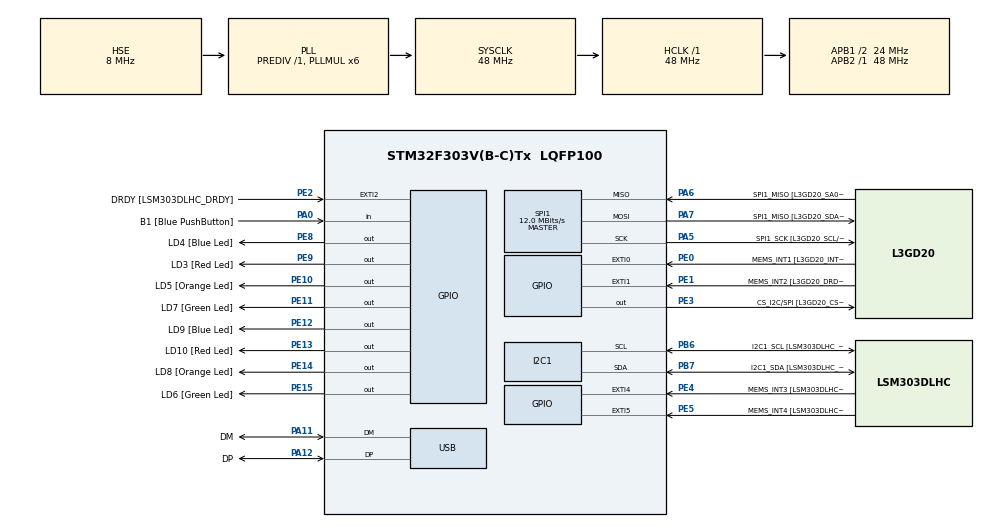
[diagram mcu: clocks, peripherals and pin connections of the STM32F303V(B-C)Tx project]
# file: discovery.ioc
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FREERTOS.CountingSemaphores01=bigMac,100,Dynamic,NULL
FREERTOS.Tasks01=LD4_Task,-3,128,LD4Task,Default,NULL,Dynamic,NULL,NULL;LD3_Task,-3,128,LD3Task,Default,NULL,Dynamic,NULL,NULL;LD5_Task,-3,128,LD5Task,Default,NULL,Dynamic,NULL,NULL;LD6_Task,-3,128,LD6Task,Default,NULL,Dynamic,NULL,NULL;LD7_Task,-3,128,LD7Task,Default,NULL,Dynamic,NULL,NULL;LD8_Task,-3,128,LD8Task,Default,NULL,Dynamic,NULL,NULL;LD9_Task,-3,128,LD9Task,Default,NULL,Dynamic,NULL,NULL;LD10_Task,-3,128,LD10Task,Default,NULL,Dynamic,NULL,NULL;B1_Task,-3,128,B1Task,Default,NULL,Dynamic,NULL,NULL
FREERTOS.configTOTAL_HEAP_SIZE=7000
FREERTOS.configUSE_COUNTING_SEMAPHORES=1
FREERTOS.configUSE_NEWLIB_REENTRANT=1
FREERTOS.configUSE_TIMERS=1
I2C1.Timing=0x2000090E
I2C1.Timing-I2C=0x2000090E
Mcu.Family=STM32F3
Mcu.Name=STM32F303V(B-C)Tx
Mcu.Package=LQFP100
NVIC.PriorityGroup=NVIC_PRIORITYGROUP_4
NVIC.TIM4_IRQn=true\:15\:0\:false\:false\:true\:false\:false\:true
NVIC.TimeBase=TIM4_IRQn
NVIC.TimeBaseIP=TIM4
PA0.GPIO_Label=B1 [Blue PushButton]
PA0.Signal=GPIO_Input
PA11.GPIO_Label=DM
PA11.Mode=Device
PA11.Signal=USB_DM
PA12.GPIO_Label=DP
PA12.Mode=Device
PA12.Signal=USB_DP
PA13.GPIO_Label=SWDIO
PA13.Mode=Serial_Wire
PA13.Signal=SYS_JTMS-SWDIO
PA14.GPIO_Label=SWCLK
PA14.Mode=Serial_Wire
PA14.Signal=SYS_JTCK-SWCLK
PA5.GPIO_Label=SPI1_SCK [L3GD20_SCL/SPC]
PA5.Mode=Full_Duplex_Master
PA5.Signal=SPI1_SCK
PA6.GPIO_Label=SPI1_MISO [L3GD20_SA0/SDO]
PA6.Mode=Full_Duplex_Master
PA6.Signal=SPI1_MISO
PA7.GPIO_Label=SPI1_MISO [L3GD20_SDA/SDI/SDO]
PA7.Mode=Full_Duplex_Master
PA7.Signal=SPI1_MOSI
PB3.GPIO_Label=SWO
PB3.Signal=SYS_JTDO-TRACESWO
PB6.GPIO_Label=I2C1_SCL [LSM303DLHC_SCL]
PB6.GPIO_Pu=GPIO_PULLUP
PB6.Mode=I2C
PB6.Signal=I2C1_SCL
PB7.GPIO_Label=I2C1_SDA [LSM303DLHC_SDA]
PB7.GPIO_Pu=GPIO_PULLUP
PB7.Mode=I2C
PB7.Signal=I2C1_SDA
PC14-OSC32_IN.GPIO_Label=OSC32_IN
PC14-OSC32_IN.Signal=RCC_OSC32_IN
PC15-OSC32_OUT.GPIO_Label=OSC32_OUT
PC15-OSC32_OUT.Signal=RCC_OSC32_OUT
PE0.GPIO_Label=MEMS_INT1 [L3GD20_INT1]
PE0.GPIO_ModeDefaultEXTI=GPIO_MODE_EVT_RISING
PE0.Signal=GPXTI0
PE1.GPIO_Label=MEMS_INT2 [L3GD20_DRDY/INT2]
PE1.GPIO_ModeDefaultEXTI=GPIO_MODE_EVT_RISING
PE1.Signal=GPXTI1
PE10.GPIO_Label=LD5 [Orange Led]
PE10.Signal=GPIO_Output
PE11.GPIO_Label=LD7 [Green Led]
PE11.Signal=GPIO_Output
PE12.GPIO_Label=LD9 [Blue Led]
PE12.Signal=GPIO_Output
PE13.GPIO_Label=LD10 [Red Led]
PE13.Signal=GPIO_Output
PE14.GPIO_Label=LD8 [Orange Led]
PE14.Signal=GPIO_Output
PE15.GPIO_Label=LD6 [Green Led]
PE15.Signal=GPIO_Output
PE2.GPIO_Label=DRDY [LSM303DLHC_DRDY]
PE2.GPIO_ModeDefaultEXTI=GPIO_MODE_EVT_RISING
PE2.Signal=GPXTI2
PE3.GPIO_Label=CS_I2C/SPI [L3GD20_CS_I2C/SPI]
PE3.Signal=GPIO_Output
PE4.GPIO_Label=MEMS_INT3 [LSM303DLHC_INT1]
PE4.GPIO_ModeDefaultEXTI=GPIO_MODE_EVT_RISING
PE4.Signal=GPXTI4
PE5.GPIO_Label=MEMS_INT4 [LSM303DLHC_INT2]
PE5.GPIO_ModeDefaultEXTI=GPIO_MODE_EVT_RISING
PE5.Signal=GPXTI5
PE8.GPIO_Label=LD4 [Blue Led]
PE8.Signal=GPIO_Output
PE9.GPIO_Label=LD3 [Red Led]
PE9.Signal=GPIO_Output
PF0-OSC_IN.GPIO_Label=OSC_IN
PF0-OSC_IN.Mode=HSE-External-Clock-Source
PF0-OSC_IN.Signal=RCC_OSC_IN
PF1-OSC_OUT.GPIO_Label=OSC_OUT
PF1-OSC_OUT.Signal=RCC_OSC_OUT
ProjectManager.HeapSize=0x200
ProjectManager.StackSize=0x400
ProjectManager.TargetToolchain=STM32CubeIDE
RCC.AHBFreq_Value=48000000
RCC.APB1CLKDivider=RCC_HCLK_DIV2
RCC.APB1Freq_Value=24000000
RCC.APB1TimFreq_Value=48000000
RCC.APB2Freq_Value=48000000
RCC.APB2TimFreq_Value=48000000
RCC.CortexFreq_Value=48000000
RCC.HCLKFreq_Value=48000000
RCC.HSE_VALUE=8000000
RCC.HSI_VALUE=8000000
RCC.LSE_VALUE=32768
RCC.PLLMUL=RCC_PLL_MUL6
RCC.SYSCLKFreq_VALUE=48000000
RCC.SYSCLKSourceVirtual=RCC_SYSCLKSOURCE_PLLCLK
RCC.USBFreq_Value=48000000
SPI1.BaudRatePrescaler=SPI_BAUDRATEPRESCALER_4
SPI1.BaudRatePrescaler-Full_Duplex_Master=SPI_BAUDRATEPRESCALER_2
SPI1.CalculateBaudRate=12.0 MBits/s
SPI1.CalculateBaudRate-Full_Duplex_Master=24.0 MBits/s
SPI1.Direction=SPI_DIRECTION_2LINES
SPI1.Mode=SPI_MODE_MASTER
SPI1.Mode-Full_Duplex_Master=SPI_MODE_MASTER
SPI1.VirtualType=VM_MASTER
VP_FREERTOS_VS_CMSIS_V1.Mode=CMSIS_V1
VP_SYS_VS_tim4.Mode=TIM4
board=STM32F3DISCOVERY

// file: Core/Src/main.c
/* USER CODE BEGIN Header */
/**
 ******************************************************************************
 * @file           : main.c
 * @brief          : Main program body
 ******************************************************************************
 * @attention
 *
 * <h2><center>&copy; Copyright (c) 2021 STMicroelectronics.
 * All rights reserved.</center></h2>
 *
 * This software component is licensed by ST under BSD 3-Clause license,
 * the "License"; You may not use this file except in compliance with the
 * License. You may obtain a copy of the License at:
 *                        opensource.org/licenses/BSD-3-Clause
 *
 ******************************************************************************
 */
/* USER CODE END Header */
#include "main.h"
#include "cmsis_os.h"

I2C_HandleTypeDef hi2c1;

SPI_HandleTypeDef hspi1;

PCD_HandleTypeDef hpcd_USB_FS;

osThreadId LD4_TaskHandle;
osThreadId LD3_TaskHandle;
osThreadId LD5_TaskHandle;
osThreadId LD6_TaskHandle;
osThreadId LD7_TaskHandle;
osThreadId LD8_TaskHandle;
osThreadId LD9_TaskHandle;
osThreadId LD10_TaskHandle;
osThreadId B1_TaskHandle;
osSemaphoreId bigMacHandle;

void SystemClock_Config(void);
static void MX_GPIO_Init(void);
static void MX_I2C1_Init(void);
static void MX_SPI1_Init(void);
static void MX_USB_PCD_Init(void);
void LD4Task(void const * argument);
void LD3Task(void const * argument);
void LD5Task(void const * argument);
void LD6Task(void const * argument);
void LD7Task(void const * argument);
void LD8Task(void const * argument);
void LD9Task(void const * argument);
void LD10Task(void const * argument);
void B1Task(void const * argument);

int main(void)
{

  /* MCU Configuration--------------------------------------------------------*/

  /* Reset of all peripherals, Initializes the Flash interface and the Systick. */
  HAL_Init();

  /* Configure the system clock */
  SystemClock_Config();

  /* Initialize all configured peripherals */
  MX_GPIO_Init();
  MX_I2C1_Init();
  MX_SPI1_Init();
  MX_USB_PCD_Init();

  /* Create the semaphores(s) */
  /* definition and creation of bigMac */
  osSemaphoreDef(bigMac);
  bigMacHandle = osSemaphoreCreate(osSemaphore(bigMac), 100);

  /* Create the thread(s) */
  /* definition and creation of LD4_Task */
  osThreadDef(LD4_Task, LD4Task, osPriorityIdle, 0, 128);
  LD4_TaskHandle = osThreadCreate(osThread(LD4_Task), NULL);

  /* definition and creation of LD3_Task */
  osThreadDef(LD3_Task, LD3Task, osPriorityIdle, 0, 128);
  LD3_TaskHandle = osThreadCreate(osThread(LD3_Task), NULL);

  /* definition and creation of LD5_Task */
  osThreadDef(LD5_Task, LD5Task, osPriorityIdle, 0, 128);
  LD5_TaskHandle = osThreadCreate(osThread(LD5_Task), NULL);

  /* definition and creation of LD6_Task */
  osThreadDef(LD6_Task, LD6Task, osPriorityIdle, 0, 128);
  LD6_TaskHandle = osThreadCreate(osThread(LD6_Task), NULL);

  /* definition and creation of LD7_Task */
  osThreadDef(LD7_Task, LD7Task, osPriorityIdle, 0, 128);
  LD7_TaskHandle = osThreadCreate(osThread(LD7_Task), NULL);

  /* definition and creation of LD8_Task */
  osThreadDef(LD8_Task, LD8Task, osPriorityIdle, 0, 128);
  LD8_TaskHandle = osThreadCreate(osThread(LD8_Task), NULL);

  /* definition and creation of LD9_Task */
  osThreadDef(LD9_Task, LD9Task, osPriorityIdle, 0, 128);
  LD9_TaskHandle = osThreadCreate(osThread(LD9_Task), NULL);

  /* definition and creation of LD10_Task */
  osThreadDef(LD10_Task, LD10Task, osPriorityIdle, 0, 128);
  LD10_TaskHandle = osThreadCreate(osThread(LD10_Task), NULL);

  /* definition and creation of B1_Task */
  osThreadDef(B1_Task, B1Task, osPriorityIdle, 0, 128);
  B1_TaskHandle = osThreadCreate(osThread(B1_Task), NULL);

  /* Start scheduler */
  osKernelStart();

  /* We should never get here as control is now taken by the scheduler */
  /* Infinite loop */
  /* USER CODE BEGIN WHILE */
	while (1) {

////		if (HAL_GPIO_ReadPin(B1_GPIO_Port, B1_Pin) == GPIO_PIN_SET) {
////			xSemaphoreGive(bigMacHandle);
////			HAL_GPIO_TogglePin(LD4_GPIO_Port, LD4_Pin);
////		}
//		HAL_GPIO_TogglePin(LD4_GPIO_Port, LD4_Pin);
////		vTaskDelay(200);
//		HAL_Delay(200);

    /* USER CODE END WHILE */

	}
}

void SystemClock_Config(void)
{
  RCC_OscInitTypeDef RCC_OscInitStruct = {0};
  RCC_ClkInitTypeDef RCC_ClkInitStruct = {0};
  RCC_PeriphCLKInitTypeDef PeriphClkInit = {0};

  /** Initializes the RCC Oscillators according to the specified parameters
  * in the RCC_OscInitTypeDef structure.
  */
  RCC_OscInitStruct.OscillatorType = RCC_OSCILLATORTYPE_HSI|RCC_OSCILLATORTYPE_HSE;
  RCC_OscInitStruct.HSEState = RCC_HSE_BYPASS;
  RCC_OscInitStruct.HSEPredivValue = RCC_HSE_PREDIV_DIV1;
  RCC_OscInitStruct.HSIState = RCC_HSI_ON;
  RCC_OscInitStruct.HSICalibrationValue = RCC_HSICALIBRATION_DEFAULT;
  RCC_OscInitStruct.PLL.PLLState = RCC_PLL_ON;
  RCC_OscInitStruct.PLL.PLLSource = RCC_PLLSOURCE_HSE;
  RCC_OscInitStruct.PLL.PLLMUL = RCC_PLL_MUL6;
  if (HAL_RCC_OscConfig(&RCC_OscInitStruct) != HAL_OK)
  {
    Error_Handler();
  }
  /** Initializes the CPU, AHB and APB buses clocks
  */
  RCC_ClkInitStruct.ClockType = RCC_CLOCKTYPE_HCLK|RCC_CLOCKTYPE_SYSCLK
                              |RCC_CLOCKTYPE_PCLK1|RCC_CLOCKTYPE_PCLK2;
  RCC_ClkInitStruct.SYSCLKSource = RCC_SYSCLKSOURCE_PLLCLK;
  RCC_ClkInitStruct.AHBCLKDivider = RCC_SYSCLK_DIV1;
  RCC_ClkInitStruct.APB1CLKDivider = RCC_HCLK_DIV2;
  RCC_ClkInitStruct.APB2CLKDivider = RCC_HCLK_DIV1;

  if (HAL_RCC_ClockConfig(&RCC_ClkInitStruct, FLASH_LATENCY_1) != HAL_OK)
  {
    Error_Handler();
  }
  PeriphClkInit.PeriphClockSelection = RCC_PERIPHCLK_USB|RCC_PERIPHCLK_I2C1;
  PeriphClkInit.I2c1ClockSelection = RCC_I2C1CLKSOURCE_HSI;
  PeriphClkInit.USBClockSelection = RCC_USBCLKSOURCE_PLL;
  if (HAL_RCCEx_PeriphCLKConfig(&PeriphClkInit) != HAL_OK)
  {
    Error_Handler();
  }
}

static void MX_I2C1_Init(void)
{

  hi2c1.Instance = I2C1;
  hi2c1.Init.Timing = 0x2000090E;
  hi2c1.Init.OwnAddress1 = 0;
  hi2c1.Init.AddressingMode = I2C_ADDRESSINGMODE_7BIT;
  hi2c1.Init.DualAddressMode = I2C_DUALADDRESS_DISABLE;
  hi2c1.Init.OwnAddress2 = 0;
  hi2c1.Init.OwnAddress2Masks = I2C_OA2_NOMASK;
  hi2c1.Init.GeneralCallMode = I2C_GENERALCALL_DISABLE;
  hi2c1.Init.NoStretchMode = I2C_NOSTRETCH_DISABLE;
  if (HAL_I2C_Init(&hi2c1) != HAL_OK)
  {
    Error_Handler();
  }
  /** Configure Analogue filter
  */
  if (HAL_I2CEx_ConfigAnalogFilter(&hi2c1, I2C_ANALOGFILTER_ENABLE) != HAL_OK)
  {
    Error_Handler();
  }
  /** Configure Digital filter
  */
  if (HAL_I2CEx_ConfigDigitalFilter(&hi2c1, 0) != HAL_OK)
  {
    Error_Handler();
  }

}

static void MX_SPI1_Init(void)
{

  /* SPI1 parameter configuration*/
  hspi1.Instance = SPI1;
  hspi1.Init.Mode = SPI_MODE_MASTER;
  hspi1.Init.Direction = SPI_DIRECTION_2LINES;
  hspi1.Init.DataSize = SPI_DATASIZE_4BIT;
  hspi1.Init.CLKPolarity = SPI_POLARITY_LOW;
  hspi1.Init.CLKPhase = SPI_PHASE_1EDGE;
  hspi1.Init.NSS = SPI_NSS_SOFT;
  hspi1.Init.BaudRatePrescaler = SPI_BAUDRATEPRESCALER_4;
  hspi1.Init.FirstBit = SPI_FIRSTBIT_MSB;
  hspi1.Init.TIMode = SPI_TIMODE_DISABLE;
  hspi1.Init.CRCCalculation = SPI_CRCCALCULATION_DISABLE;
  hspi1.Init.CRCPolynomial = 7;
  hspi1.Init.CRCLength = SPI_CRC_LENGTH_DATASIZE;
  hspi1.Init.NSSPMode = SPI_NSS_PULSE_ENABLE;
  if (HAL_SPI_Init(&hspi1) != HAL_OK)
  {
    Error_Handler();
  }

}

static void MX_USB_PCD_Init(void)
{

  hpcd_USB_FS.Instance = USB;
  hpcd_USB_FS.Init.dev_endpoints = 8;
  hpcd_USB_FS.Init.speed = PCD_SPEED_FULL;
  hpcd_USB_FS.Init.phy_itface = PCD_PHY_EMBEDDED;
  hpcd_USB_FS.Init.low_power_enable = DISABLE;
  hpcd_USB_FS.Init.battery_charging_enable = DISABLE;
  if (HAL_PCD_Init(&hpcd_USB_FS) != HAL_OK)
  {
    Error_Handler();
  }

}

static void MX_GPIO_Init(void)
{
  GPIO_InitTypeDef GPIO_InitStruct = {0};

  /* GPIO Ports Clock Enable */
  __HAL_RCC_GPIOE_CLK_ENABLE();
  __HAL_RCC_GPIOC_CLK_ENABLE();
  __HAL_RCC_GPIOF_CLK_ENABLE();
  __HAL_RCC_GPIOA_CLK_ENABLE();
  __HAL_RCC_GPIOB_CLK_ENABLE();

  /*Configure GPIO pin Output Level */
  HAL_GPIO_WritePin(GPIOE, CS_I2C_SPI_Pin|LD4_Pin|LD3_Pin|LD5_Pin
                          |LD7_Pin|LD9_Pin|LD10_Pin|LD8_Pin
                          |LD6_Pin, GPIO_PIN_RESET);

  /*Configure GPIO pins : DRDY_Pin MEMS_INT3_Pin MEMS_INT4_Pin MEMS_INT1_Pin
                           MEMS_INT2_Pin */
  GPIO_InitStruct.Pin = DRDY_Pin|MEMS_INT3_Pin|MEMS_INT4_Pin|MEMS_INT1_Pin
                          |MEMS_INT2_Pin;
  GPIO_InitStruct.Mode = GPIO_MODE_EVT_RISING;
  GPIO_InitStruct.Pull = GPIO_NOPULL;
  HAL_GPIO_Init(GPIOE, &GPIO_InitStruct);

  /*Configure GPIO pins : CS_I2C_SPI_Pin LD4_Pin LD3_Pin LD5_Pin
                           LD7_Pin LD9_Pin LD10_Pin LD8_Pin
                           LD6_Pin */
  GPIO_InitStruct.Pin = CS_I2C_SPI_Pin|LD4_Pin|LD3_Pin|LD5_Pin
                          |LD7_Pin|LD9_Pin|LD10_Pin|LD8_Pin
                          |LD6_Pin;
  GPIO_InitStruct.Mode = GPIO_MODE_OUTPUT_PP;
  GPIO_InitStruct.Pull = GPIO_NOPULL;
  GPIO_InitStruct.Speed = GPIO_SPEED_FREQ_LOW;
  HAL_GPIO_Init(GPIOE, &GPIO_InitStruct);

  /*Configure GPIO pin : B1_Pin */
  GPIO_InitStruct.Pin = B1_Pin;
  GPIO_InitStruct.Mode = GPIO_MODE_INPUT;
  GPIO_InitStruct.Pull = GPIO_NOPULL;
  HAL_GPIO_Init(B1_GPIO_Port, &GPIO_InitStruct);

}

void LD4Task(void const * argument)
{
  /* USER CODE BEGIN 5 */
	uint8_t semaphore;
	/* Infinite loop */
	for (;;) {
		semaphore = uxSemaphoreGetCount(bigMacHandle);
		if (semaphore > 0) {
			HAL_GPIO_TogglePin(LD4_GPIO_Port, LD4_Pin);
			xSemaphoreTake(bigMacHandle, portMAX_DELAY);
		}
		osDelay(100);
	}
  /* USER CODE END 5 */
}

void LD3Task(void const * argument)
{
  /* USER CODE BEGIN LD3Task */
	/* Infinite loop */
	for (;;) {
		if (uxSemaphoreGetCount(bigMacHandle) > 0) {
			HAL_GPIO_TogglePin(LD3_GPIO_Port, LD3_Pin);
			xSemaphoreTake(bigMacHandle, portMAX_DELAY);
		}
		osDelay(200);
	}
  /* USER CODE END LD3Task */
}

void LD5Task(void const * argument)
{
  /* USER CODE BEGIN LD5Task */
	/* Infinite loop */
	for (;;) {
		if (uxSemaphoreGetCount(bigMacHandle) > 0) {
			HAL_GPIO_TogglePin(LD5_GPIO_Port, LD5_Pin);
			xSemaphoreTake(bigMacHandle, portMAX_DELAY);
		}
		osDelay(300);
	}
  /* USER CODE END LD5Task */
}

void LD6Task(void const * argument)
{
  /* USER CODE BEGIN LD6Task */
	/* Infinite loop */
	for (;;) {
		if (uxSemaphoreGetCount(bigMacHandle) > 0) {
			HAL_GPIO_TogglePin(LD6_GPIO_Port, LD6_Pin);
			xSemaphoreTake(bigMacHandle, portMAX_DELAY);
		}
		osDelay(400);
	}
  /* USER CODE END LD6Task */
}

void LD7Task(void const * argument)
{
  /* USER CODE BEGIN LD7Task */
	/* Infinite loop */
	for (;;) {
		if (uxSemaphoreGetCount(bigMacHandle) > 0) {
			HAL_GPIO_TogglePin(LD7_GPIO_Port, LD7_Pin);
			xSemaphoreTake(bigMacHandle, portMAX_DELAY);
		}
		osDelay(500);
	}
  /* USER CODE END LD7Task */
}

void LD8Task(void const * argument)
{
  /* USER CODE BEGIN LD8Task */
	/* Infinite loop */
	for (;;) {
		if (uxSemaphoreGetCount(bigMacHandle) > 0) {
			HAL_GPIO_TogglePin(LD8_GPIO_Port, LD8_Pin);
			xSemaphoreTake(bigMacHandle, portMAX_DELAY);
		}
		osDelay(600);
	}
  /* USER CODE END LD8Task */
}

void LD9Task(void const * argument)
{
  /* USER CODE BEGIN LD9Task */
	/* Infinite loop */
	for (;;) {
		if (uxSemaphoreGetCount(bigMacHandle) > 0) {
			HAL_GPIO_TogglePin(LD9_GPIO_Port, LD9_Pin);
			xSemaphoreTake(bigMacHandle, portMAX_DELAY);
		}
		osDelay(700);
	}
  /* USER CODE END LD9Task */
}

void LD10Task(void const * argument)
{
  /* USER CODE BEGIN LD10Task */
	/* Infinite loop */
	for (;;) {
		if (uxSemaphoreGetCount(bigMacHandle) > 0) {
			HAL_GPIO_TogglePin(LD10_GPIO_Port, LD10_Pin);
			xSemaphoreTake(bigMacHandle, portMAX_DELAY);
		}
		osDelay(800);
	}
  /* USER CODE END LD10Task */
}

void B1Task(void const * argument)
{
  /* USER CODE BEGIN B1Task */
	uint8_t semaphore;
	/* Infinite loop */
	for (;;) {
		if (HAL_GPIO_ReadPin(B1_GPIO_Port, B1_Pin) == GPIO_PIN_SET) {
			semaphore = uxSemaphoreGetCount(bigMacHandle);
			xSemaphoreGive(bigMacHandle);
//			HAL_GPIO_TogglePin(LD10_GPIO_Port, LD10_Pin);
		}
//		HAL_GPIO_TogglePin(LD9_GPIO_Port, LD9_Pin);
		osDelay(10);
	}
  /* USER CODE END B1Task */
}

void HAL_TIM_PeriodElapsedCallback(TIM_HandleTypeDef *htim)
{
  if (htim->Instance == TIM4) {
    HAL_IncTick();
  }
}

void Error_Handler(void)
{
	__disable_irq();
	while (1) {
	}
}

/************************ (C) COPYRIGHT STMicroelectronics *****END OF FILE****/
